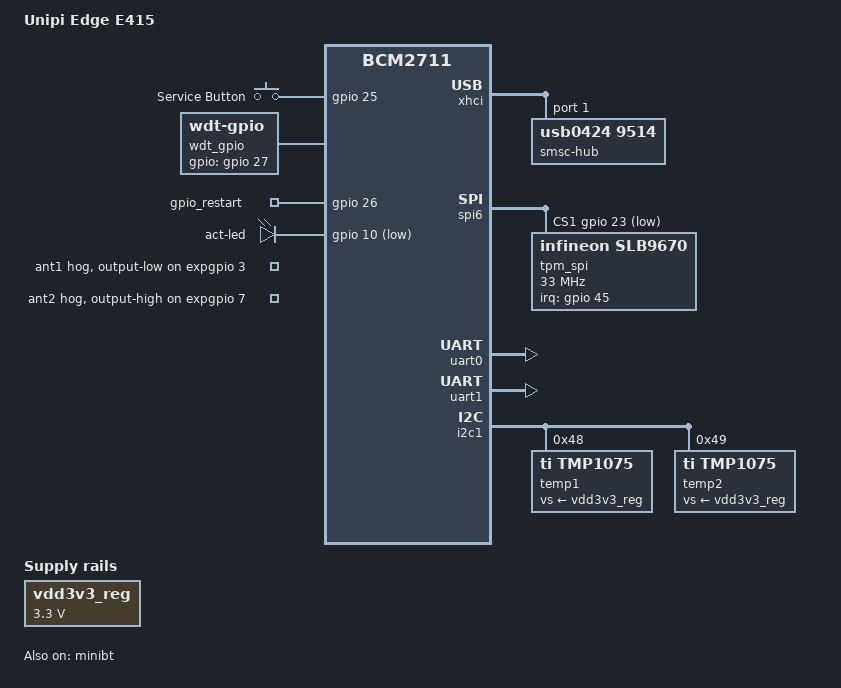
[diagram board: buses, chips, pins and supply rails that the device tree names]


/dts-v1/;
/plugin/;

/{
    
	compatible = "brcm,bcm2711";

	fragment@1 {
		target = <&phy1>;
		__overlay__ {
			led-modes = <0x08 0x00>;
		};
	};

	fragment@2 {
		target = <&pcie0>;
		__overlay__ {
			status = "disabled";
		};
	};

	fragment@3 {
		target = <&ant1>;
		__overlay__ {
			status = "disabled";
		};
	};

	fragment@4 {
		target = <&ant2>;
		__overlay__ {
			status = "disabled";
		};
	};

	fragment@5 {
		target = <&expgpio>;
		__overlay__ {
			ant1alt: ant1alt-hog {
				gpio-hog;
				gpios = <3 0>; // GPIO_ACTIVE_HIGH
				/* internal antenna disabled */
				output-low;
				line-name = "ant1";
			};

			ant2alt: ant2alt-hog {
				gpio-hog;
				gpios = <7 0>; // GPIO_ACTIVE_HIGH
				/* external antenna enabled */
				output-high;
				line-name = "ant2";
			};
		};
	};

	fragment@6 {
		target-path = "/";
		__overlay__ {
			chassis-type = "embedded";
		};
	};

	fragment@7 {
		target = <&xhci>;
		__overlay__ {
			status = "okay";
		};
	};

    fragment@10 {
		target-path = "/";
		__overlay__ {
			model = "Unipi Edge E415";
		};
	};
 
	fragment@51 {
		target = <&spi6_cs_pins>;
		__overlay__ {
			brcm,pins = <18>, <23>;
			brcm,function = <1>; // output input
			brcm,pull = <0>, <0>;
		};
	};

	fragment@52 {
		target = <&spi6>;
		__overlay__ {
			// needed to avoid dtc warning
			#address-cells = <1>;
			#size-cells = <0>;
			compatible = "brcm,bcm2835-spi";
			pinctrl-names = "default";
			pinctrl-0 = <&spi6_pins &spi6_cs_pins>;
			cs-gpios = <&gpio 18 1>, <&gpio 23 1>;
			dmas = <&dma 23>, <&dma 27>;
			dma-names = "tx", "rx";
			status = "okay";
		};
	};

 	fragment@101 {
		target-path = "/aliases";
		__overlay__ {
			bluetooth = "/soc/serial@7e215040/bluetooth";
		};
	};

	fragment@102 {
		target = <&uart0>;
		__overlay__ {
			pinctrl-names = "default";
			pinctrl-0 = <&uart0_ovl_pins>, <&uart0_rts_ovl_pins>;
			status = "okay";
			linux,rs485-enabled-at-boot-time;
		};
	};

	fragment@103 {
		target = <&gpio>;
		__overlay__ {
			uart0_ovl_pins: uart0-ovl-pins {
				brcm,pins = <14 15>;
				brcm,function = <4>; /* alt0 */
				brcm,pull = <0 2>;
			};
			uart0_rts_ovl_pins: uart0-rts-ovl-pins {
				brcm,pins = <17>;
				brcm,function = <7>; /* alt3 */
				brcm,pull = <0>;
			};
		};
	};

	fragment@104 {
		target = <&bt>;
		__overlay__ {
			status = "disabled";
		};
	};

	fragment@105 {
		target = <&uart1>;
		__overlay__ {
			pinctrl-names = "default";
			pinctrl-0 = <&uart1_bt_pins>;
			status = "okay";
		};
	};

	fragment@108 {
		target = <&minibt>;
		__overlay__ {
			status = "okay";
		};
	};
 
	fragment@400 {
		target = <&xhci>;
		__overlay__ {
			#address-cells = <1>;
			#size-cells = <0>;
			smsc-hub@1 {
				reg = <1>;
				compatible = "usb0424,9514";
				#address-cells = <1>;
				#size-cells = <0>;
				ethernet1:eth1@1 {
					reg = <1>;
					compatible = "usb0424,ec00";
				};
				mpcie:mpcie@2 {
					reg = <2>;
				};
			};
		};
	}; 

	fragment@401 {
		target-path = "/aliases";
		__overlay__ {
			// Must be defined absolutly - Tady je problem v ruznuch nazvech usb/xhci v DT mainline/rpi
			//ethernet1 = "/scb/usb@7e9c0000/smsc-hub@1/eth1@1";
			ethernet1 = "/scb/xhci@7e9c0000/smsc-hub@1/eth1@1";
		};
	};
         fragment@500 {
                target = <&i2c1>;
                __overlay__ {
                        #address-cells = <0x01>;
                        #size-cells = <0x00>;
                        status = "okay";
                        //clock-frequency = <400000>;  // Set I2C1 frequency to 400 kHz

                        temp1: temp1@48 {
                                #thermal-sensor-cells = <0>;
                                compatible = "ti,tmp1075";
                                reg = <0x48>;
                                status = "okay";
                                thermal-zones = <&pcb_thermal>;
                                vs-supply = <&vdd3v3_reg>;
                        };
                        temp2: temp2@49 {
                                #thermal-sensor-cells = <0>;
                                compatible = "ti,tmp1075";
                                reg = <0x49>;
                                status = "okay";
                                thermal-zones = <&smps_thermal>;
                                vs-supply = <&vdd3v3_reg>;
                        };
                };
        };

        fragment@501 {
                target-path = "/";
                __overlay__ {
                        thermal-zones {
                                pcb_thermal: pcb-thermal {
                                        polling-delay-passive = <250>; /* milliseconds */
                                        polling-delay = <1000>; /* milliseconds */
                                        /* sensor       ID */
                                        thermal-sensors = <&temp1>;
                                        trips {
                                                pcb_hot: trip-point0 {
                                                        temperature = <50000>;  /* 70  C trip point */
                                                        hysteresis = <5000>;  /* 5  C hysteresis */
                                                        type = "hot";
                                                };
                                                pcb_overheat: trip-point1 {
                                                        temperature = <490000>;  /* 70  C trip point */
                                                        hysteresis = <5000>;  /* 5  C hysteresis */
                                                        type = "critical";
                                                };
                                        };
                                };
                                smps_thermal: smps-thermal {
                                        polling-delay-passive = <250>; /* milliseconds */
                                        polling-delay = <1000>; /* milliseconds */
                                        /* sensor       ID */
                                        thermal-sensors = <&temp2>;
                                        trips {
                                                smps_overheat1: trip-point0 {
                                                        temperature = <60000>;  /* 70  C trip point */
                                                        hysteresis = <2000>;  /* 5  C hysteresis */
                                                        type = "active";
                                                };
                                                smps_overheat2: trip-point1 {
                                                        temperature = <65000>;  /* 70  C trip point */
                                                        hysteresis = <2000>;  /* 5  C hysteresis */
                                                        type = "passive";
                                                };
                                                smps_overheat3: trip-point2 {
                                                        temperature = <70000>;  /* 70  C trip point */
                                                        hysteresis = <2000>;  /* 5  C hysteresis */
                                                        type = "hot";
                                                };
                                                smps_hot: trip-point3 {
                                                        temperature = <495000>;  /* 70  C trip point */
                                                        hysteresis = <5000>;  /* 5  C hysteresis */
                                                        type = "critical";
                                                };

                                        };
                                };
                        };
                };
        };
 	fragment@600 {
		target-path = "/";
		__overlay__ {


			gpio_keys: gpio-keys {
				compatible = "gpio-keys";
				pinctrl-names = "default";
				pinctrl-0 = <&pinctrl_service_button>;
				label = "Service Button";

				button {
					label = "Service Button";
					gpios = <&gpio 25 0>; /* ACTIVE_HIGH */
					linux,code = <28>; /* KEY_ENTER */
					debounce-interval = <50>;
				};
			};


		};
	};

	fragment@601 {
		target = <&gpio>;
		__overlay__ {
                        pinctrl_service_button: pinctrl-service-button {
				brcm,pins = <25>;
				brcm,function = <0>; /* input */
			};
		};
	};
 
	fragment@701 {
		target = <&gpio>;
		__overlay__ {
			wd_pins: wd-pins {
				brcm,pins = <27>;
				brcm,function = <1>; /* output */
			};
			reset_pins: reset-pins {
				brcm,pins = <26>;
				brcm,function = <1>; /* output */
			};
		};
	};

	fragment@702 {
		target-path = "/";
		__overlay__ {
			wdt_gpio: wdt-gpio {
				compatible = "linux,wdt-gpio";
				//always-running;
				hw_margin_ms = <4000>;
				hw_algo = "level";
				pinctrl-names = "default";
                                timeout-sec = <10>;
				pinctrl-0 = <&wd_pins>;
				gpios = <&gpio 27 0>;
				status = "okay";
			};
			gpio_restart: gpio-restart {
				compatible = "gpio-restart";
				open-source;
				gpios = <&gpio 26 0>;
				priority = <255>; /* <128> or <255> */
				active-delay = <100>;
				inactive-delay = <100>;
				wait-delay = <3000>;
				pinctrl-names = "default";
				pinctrl-0 = <&reset_pins>;
				status = "okay";
			};

			/* Regulator node to avoid "dummy regulator" messages */
			vdd3v3_reg: regulator-vdd {
				compatible = "regulator-fixed";
				regulator-name = "vdd3v3_reg";
				regulator-min-microvolt = <3300000>;
				regulator-max-microvolt = <3300000>;
			};
		};
	};
	fragment@703 {
		target-path = "/aliases";
		__overlay__ {
			watchdog1 = "/wdt-gpio";
		};
	};
 
	fragment@801 {
		target = <&spi6>;
		__overlay__ {
			// needed to avoid dtc warning
			#address-cells = <1>;
			#size-cells = <0>;

			tpm_spi: tpm-spi@1 {
				compatible = "infineon,slb9670";
				reg = <1>;
				#address-cells = <1>;
				#size-cells = <0>;
				interrupt-parent = <&gpio>;
				//interrupts = <45 0x2>;     // IRQ_TYPE_EDGE_FALLING
				interrupts = <45 0x8>;     // IRQ_TYPE_LEVEL_LOW
				spi-max-frequency = <33000000>;
				status = "okay";
			};
		};
	};

	fragment@802 {
		target = <&gpio>;
		__overlay__ {
			pinctrl_tpm_irq: pinctrl-tpm-irq {
				brcm,pins = <45>;
				brcm,function = <0>; // BCM2835_FSEL_GPIO_IN
				brcm,pull = <2>;     // BCM2835_PUD_UP
			};
		};
	};
 
	fragment@901 {
		target = <&gpio>;
		__overlay__ {
			miniled_pins: miniled-pins {
				brcm,pins = <10>;
				brcm,function = <1>; /* out */
				brcm,pull = <0>; /* BCM2835_PUD_OFF */
			};
		};
	};
	fragment@902 {
		target-path = "/";
		__overlay__ {
			sysled:sysled {
				compatible = "gpio-leds";
				pinctrl-names = "default";
				pinctrl-0 = <&miniled_pins>;
				act-led {
					gpios = <&gpio 10 1>; // GPIO_ACTIVE_LOW
					default-state = "off";
					linux,default-trigger = "heartbeat";
				};
			};
		};
	};
};


